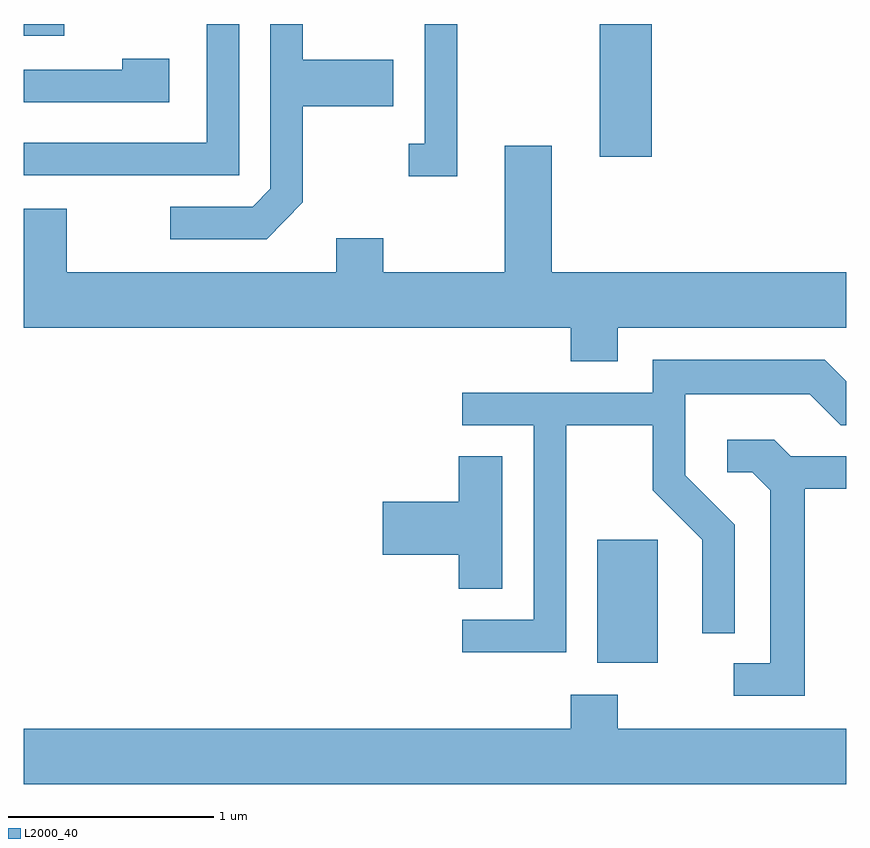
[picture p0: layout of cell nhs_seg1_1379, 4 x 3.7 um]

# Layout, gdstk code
import gdstk
lib = gdstk.Library(unit=1e-6, precision=1e-09)
def R(c, l, rs):  # rectangles x0, y0, x1, y1
    for r in rs: c.add(gdstk.rectangle(r[:2], r[2:], *l))
def P(c, l, *ps):  # polygons
    for p in ps: c.add(gdstk.Polygon(p, *l))
L2000_40 = (2000, 40)

nhs_seg1_1379 = lib.new_cell('nhs_seg1_1379')
R(nhs_seg1_1379, L2000_40, [(230.401,904.606,230.694,905.204), (230.411,907.066,230.664,907.712), (227.611,907.656,227.808,907.712)])
P(nhs_seg1_1379, L2000_40, [(228.969,906.844),(228.969,907.311),(229.409,907.311),(229.409,907.539),(228.969,907.539),(228.969,907.712),(228.811,907.712),(228.811,906.912),(228.724,906.824),(228.323,906.824),(228.323,906.666),(228.792,906.666)],
  [(228.659,907.712),(228.501,907.712),(228.501,907.134),(227.611,907.134),(227.611,906.976),(228.659,906.976)],
  [(229.719,907.712),(229.561,907.712),(229.561,907.129),(229.483,907.129),(229.483,906.971),(229.719,906.971)],
  [(228.319,907.544),(228.091,907.544),(228.091,907.489),(227.611,907.489),(227.611,907.331),(228.319,907.331)],
  [(230.499,906.236),(231.611,906.236),(231.611,906.504),(230.179,906.504),(230.179,907.119),(229.951,907.119),(229.951,906.504),(229.359,906.504),(229.359,906.669),(229.131,906.669),(229.131,906.504),(227.819,906.504),(227.819,906.814),(227.611,906.814),(227.611,906.236),(230.271,906.236),(230.271,906.071),(230.499,906.071)],
  [(230.249,905.761),(230.671,905.761),(230.671,905.444),(230.911,905.204),(230.911,904.748),(231.069,904.748),(231.069,905.277),(230.829,905.517),(230.829,905.911),(231.434,905.911),(231.584,905.761),(231.611,905.761),(231.611,905.975),(231.507,906.079),(230.671,906.079),(230.671,905.919),(229.743,905.919),(229.743,905.761),(230.091,905.761),(230.091,904.814),(229.743,904.814),(229.743,904.656),(230.249,904.656)],
  [(231.409,905.451),(231.611,905.451),(231.611,905.609),(231.342,905.609),(231.262,905.689),(231.033,905.689),(231.033,905.531),(231.154,905.531),(231.241,905.444),(231.241,904.604),(231.063,904.604),(231.063,904.446),(231.409,904.446)],
  [(229.939,905.609),(229.726,905.609),(229.726,905.389),(229.356,905.389),(229.356,905.131),(229.726,905.131),(229.726,904.966),(229.939,904.966)],
  [(231.611,904.284),(230.499,904.284),(230.499,904.449),(230.271,904.449),(230.271,904.284),(227.611,904.284),(227.611,904.016),(231.611,904.016)])

lib.write_gds('nhs_seg1_1379.gds')
